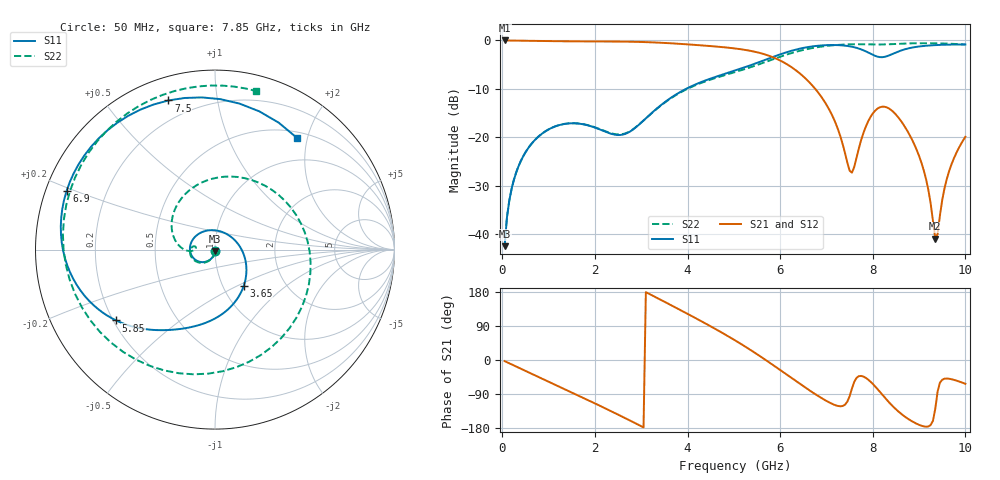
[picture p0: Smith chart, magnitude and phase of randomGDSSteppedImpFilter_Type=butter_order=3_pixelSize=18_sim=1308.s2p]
! freq	dB(S11)	phase(S11)	dB(S12)	phase(S12)
!  dB(S21)	phase(S21)	dB(S22)	phase(S22)
!S-par simulation data
#  GHz  S  DB  R 50
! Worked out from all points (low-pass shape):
!   200 points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, 50 MHz to 10 GHz, reference 50 ohm
!   highest |S21| = 0.00 dB at 50 MHz (marker M1); lowest = -40.9 dB at 9.35 GHz (marker M2)
!   |S21| within 3 dB of the highest: start of sweep to 5.71 GHz
!   lowest |S11| = -42.4 dB at 50 MHz (marker M3), VSWR 1.02, Z = 50 - j0.756 ohm
!   |S11| at or under -10 dB: start of sweep to 3.965 GHz
!   |S22| runs from -42.4 to -0.6 dB; largest |S21 - S12| = 0
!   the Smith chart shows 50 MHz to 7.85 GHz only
!   S11 on the Smith chart (normalised r, x): 50 MHz: 1.00, -0.02; 3.65 GHz: 1.25, -0.54; 5.85 GHz: 0.21, -0.31; 6.9 GHz: 0.06, +0.19; 7.5 GHz: 0.11, +0.73; 7.85 GHz: 0.60, +1.83
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0.05  -42.42 -91.0  -0.00 -2.9  -0.00 -2.9  -42.42 -90.6
0.2  -30.64 -101.4  -0.02 -11.6  -0.02 -11.6  -30.64 -100.8
0.5  -23.08 -119.9  -0.06 -28.7  -0.06 -28.7  -23.08 -118.2
1.75  -17.29 158.1  -0.20 -100.0  -0.20 -100.0  -17.26 -179.5
2.65  -19.29 52.8  -0.24 -153.2  -0.24 -153.2  -19.18 178.5
3.4  -13.54 -33.7  -0.46 160.2  -0.46 160.2  -13.61 171.9
3.65  -11.77 -51.7  -0.59 144.3  -0.59 144.3  -11.87 158.5
4.35  -8.38 -89.3  -1.05 98.9  -1.05 98.9  -8.56 105.9
5.05  -6.14 -115.7  -1.68 50.1  -1.68 50.1  -6.46 34.8
5.85  -3.38 -144.3  -3.49 -13.6  -3.49 -13.6  -3.87 -66.5
6.25  -2.12 -163.1  -5.54 -48.0  -5.54 -48.0  -2.59 -119.2
6.7  -1.22 171.4  -9.34 -85.5  -9.34 -85.5  -1.56 -174.3
6.9  -1.02 158.5  -11.78 -100.9  -11.78 -100.9  -1.26 163.3
7.5  -1.21 107.3  -26.85 -95.6  -26.85 -95.6  -0.80 104.3
7.85  -2.25 53.5  -17.77 -47.2  -17.77 -47.2  -0.79 75.3
8.1  -3.34 -9.6  -14.07 -76.5  -14.07 -76.5  -0.84 57.4
8.35  -3.09 -80.7  -14.03 -111.6  -14.03 -111.6  -0.78 41.2
8.75  -1.68 -152.7  -18.71 -154.3  -18.71 -154.3  -0.62 16.6
9.15  -1.09 169.3  -28.59 -176.0  -28.59 -176.0  -0.57 -6.2
9.35  -0.96 155.6  -40.88 -128.4  -40.88 -128.4  -0.59 -17.0
9.6  -0.87 140.8  -28.51 -48.9  -28.51 -48.9  -0.65 -30.1
10  -0.83 120.0  -19.85 -62.8  -19.85 -62.8  -0.85 -50.9
